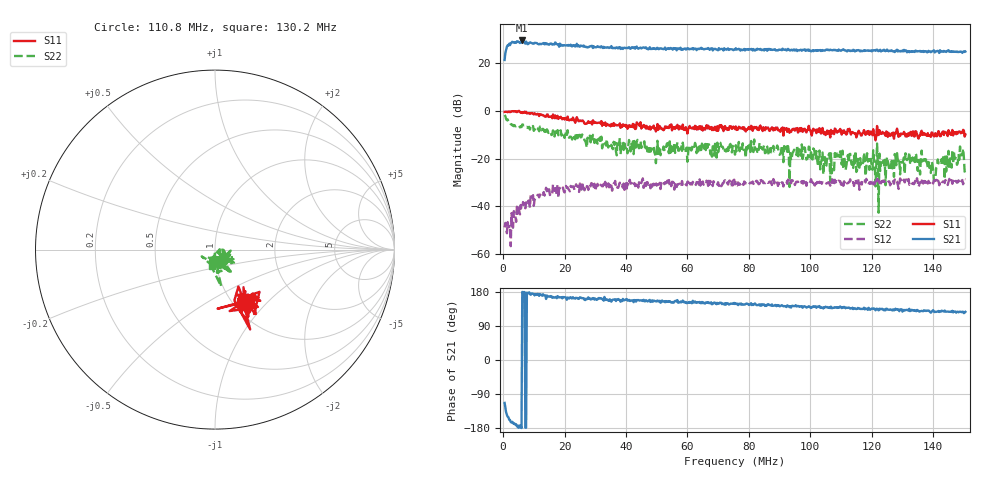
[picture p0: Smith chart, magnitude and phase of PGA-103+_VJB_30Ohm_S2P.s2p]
!Keysight Technologies N9926A: A.10.18
!Date: Saturday, 25 July 2020 17:18:36
!Timezone:
!Model: N9926A
!Serial: MY57271140
!GPS Latitude:
!GPS Longitude:
!GPS TimeStamp: 0001-01-01 00:00:00Z
!GPS Seconds Since Last Read: 0
!CHECKSUM:1690907603
!Correction: S11(ON U)S21(ON U)S12(ON U)S22(ON U)
!S2P File: Measurements:S11,S21,S12,S22:
# Hz S DB R 50
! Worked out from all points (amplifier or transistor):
!   601 points, 500 kHz to 150.5 MHz, reference 50 ohm
!   highest |S21| = 29.6 dB at 6 MHz (marker M1)
!   |S21| within 3 dB of that: 1.175 MHz to 29.2 MHz (28.03 MHz wide, 185 % of centre)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
!   unconditionally stable (mu >= 1): 125 MHz to 127.5 MHz; 136.5 MHz to 141.5 MHz; 141.8 MHz to 144.9 MHz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
!   at 25.5 MHz: K = 0.80, MSG = 30.1 dB, |S12| = -33.0 dB
!   at 75.5 MHz: K = 1.00, MSG = 28.3 dB, |S12| = -30.8 dB
!   at 150.5 MHz: K = 1.00, MSG = 26.8 dB, |S12| = -28.6 dB
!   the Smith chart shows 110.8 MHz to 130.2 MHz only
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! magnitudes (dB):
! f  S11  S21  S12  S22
! 500 kHz  -0.4  21.4  -48.8  -1.6
! 2.25 MHz  -0.5  27.6  -47.9  -4.9
! 6 MHz  -0.5  29.6  -41.0  -6.7
! 14.25 MHz  -1.5  28.3  -33.6  -7.7
! 25.5 MHz  -4.2  27.3  -33.0  -10.9
! 50.5 MHz  -7.9  26.1  -30.9  -18.0
! 75.5 MHz  -7.6  25.8  -30.8  -18.3
! 92.25 MHz  -7.2  25.4  -29.5  -14.9
! 93.75 MHz  -8.8  25.7  -30.3  -20.7
! 95 MHz  -8.2  25.3  -31.0  -16.8
! 100.5 MHz  -10.3  25.1  -29.5  -20.1
! 107 MHz  -9.6  25.6  -30.1  -26.1
! 109.2 MHz  -8.2  25.8  -29.2  -18.4
! 111 MHz  -8.1  25.6  -29.5  -18.9
! 121.2 MHz  -12.3  25.2  -29.8  -31.6
! 121.5 MHz  -10.4  25.7  -29.1  -22.5
! 125.5 MHz  -9.1  25.1  -29.5  -22.5
! 136.8 MHz  -9.2  25.2  -30.4  -20.3
! 140.5 MHz  -10.6  24.6  -28.9  -28.6
! 142.2 MHz  -10.6  25.5  -30.0  -21.7
! 149 MHz  -9.3  25.0  -30.1  -18.5
! 150.5 MHz  -9.8  25.0  -28.6  -26.1
